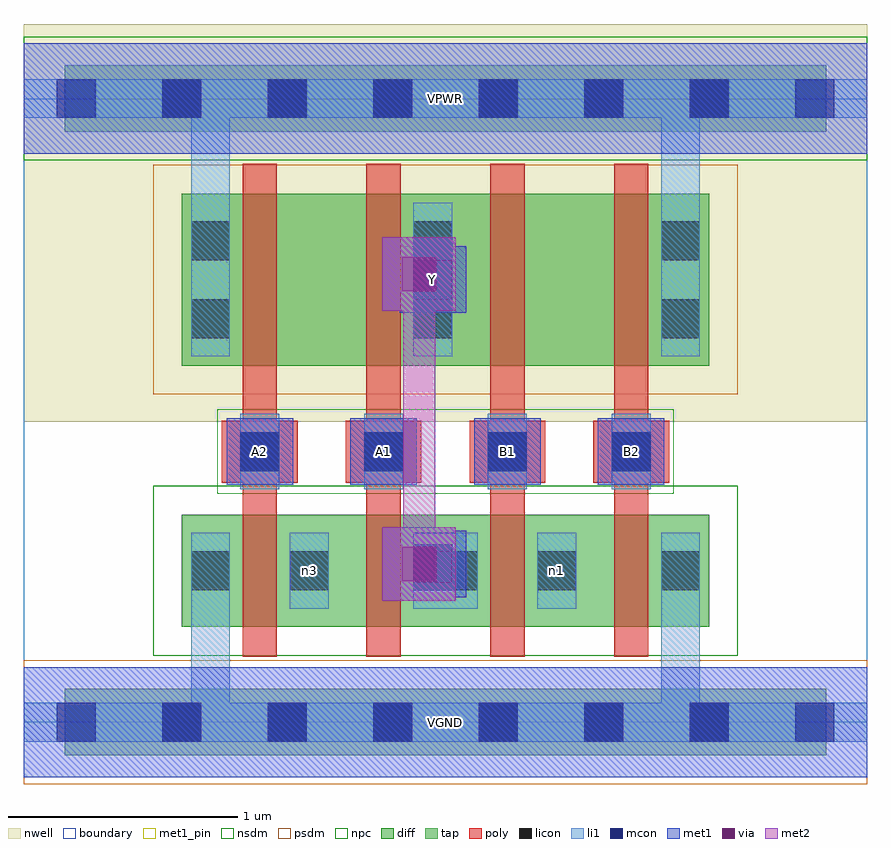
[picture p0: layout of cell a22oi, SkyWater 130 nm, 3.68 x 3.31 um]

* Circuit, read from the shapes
.subckt a22oi A1 A2 B1 B2 VGND VPWR Y n1 n3
XM1 n3 A2 VGND VGND sky130_fd_pr__nfet_01v8 w=0.49 l=0.15
XM2 Y A1 n3 VGND sky130_fd_pr__nfet_01v8 w=0.49 l=0.15
XM3 n1 B1 Y VGND sky130_fd_pr__nfet_01v8 w=0.49 l=0.15
XM4 VGND B2 n1 VGND sky130_fd_pr__nfet_01v8 w=0.49 l=0.15
XM5 n2 A2 VPWR VPWR sky130_fd_pr__pfet_01v8 w=0.75 l=0.15
XM6 Y A1 n2 VPWR sky130_fd_pr__pfet_01v8 w=0.75 l=0.15
XM7 n4 B1 Y VPWR sky130_fd_pr__pfet_01v8 w=0.75 l=0.15
XM8 VPWR B2 n4 VPWR sky130_fd_pr__pfet_01v8 w=0.75 l=0.15
.ends

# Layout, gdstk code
import gdstk
lib = gdstk.Library(unit=1e-6, precision=1e-09)
def R(c, l, rs):  # rectangles x0, y0, x1, y1
    for r in rs: c.add(gdstk.rectangle(r[:2], r[2:], *l))
def A(c, l, x, y, w, h, nx, ny, dx, dy):  # array of equal rectangles
    R(c, l, [(x+i*dx, y+j*dy, x+i*dx+w, y+j*dy+h) for i in range(nx) for j in range(ny)])
nwell = (64, 20)
diff = (65, 20)
tap = (65, 44)
poly = (66, 20)
licon = (66, 44)
li1 = (67, 20)
mcon = (67, 44)
met1_pin = (68, 16)
met1 = (68, 20)
via = (68, 44)
met2 = (69, 20)
nsdm = (93, 44)
psdm = (94, 20)
npc = (95, 20)
boundary = (235, 4)

a22oi = lib.new_cell('a22oi')
R(a22oi, nwell, [(0,1.31,3.68,3.045)])
R(a22oi, diff, [(0.69,0.415,1.91,0.905), (1.77,0.415,2.99,0.905), (0.69,1.555,2.99,2.305)])
R(a22oi, tap, [(0.18,-0.145,3.5,0.145), (0.18,2.575,3.5,2.865)])
A(a22oi, poly, 0.955, 0.285, 0.15, 2.15, 4, 1, 0.54, 0)
A(a22oi, poly, 0.865, 1.045, 0.33, 0.27, 4, 1, 0.54, 0)
A(a22oi, licon, 0.605, -0.085, 0.17, 0.17, 6, 2, 0.46, 2.72)
A(a22oi, licon, 0.945, 1.095, 0.17, 0.17, 4, 1, 0.54, 0)
R(a22oi, licon, [(0.73,0.575,0.9,0.745), (1.16,0.575,1.33,0.745), (1.7,0.575,1.87,0.745), (1.81,0.575,1.98,0.745), (2.24,0.575,2.41,0.745), (2.78,0.575,2.95,0.745), (0.73,1.675,0.9,1.845), (1.7,1.675,1.87,1.845), (2.78,1.675,2.95,1.845), (0.73,2.015,0.9,2.185), (1.7,2.015,1.87,2.185), (2.78,2.015,2.95,2.185)])
A(a22oi, li1, 0.945, 1.015, 0.17, 0.33, 4, 1, 0.54, 0)
R(a22oi, li1, [(0,-0.085,3.68,0.085), (0.73,-0.085,0.9,0.825), (2.78,-0.085,2.95,0.825), (0.73,0.495,0.9,0.825), (1.16,0.495,1.33,0.825), (1.7,0.495,1.87,0.825), (1.81,0.495,1.98,0.825), (2.24,0.495,2.41,0.825), (2.78,0.495,2.95,0.825), (0.73,1.595,0.9,2.265), (0.73,1.595,0.9,2.805), (1.7,1.595,1.87,2.265), (2.78,1.595,2.95,2.265), (2.78,1.595,2.95,2.805), (0,2.635,3.68,2.805)])
A(a22oi, mcon, 0.145, -0.085, 0.17, 0.17, 8, 2, 0.46, 2.72)
A(a22oi, mcon, 0.945, 1.095, 0.17, 0.17, 4, 1, 0.54, 0)
R(a22oi, mcon, [(1.7,0.605,1.87,0.775), (1.7,1.845,1.87,2.015)])
A(a22oi, met1_pin, 0.885, 1.035, 0.29, 0.29, 4, 1, 0.54, 0)
R(a22oi, met1_pin, [(0,-0.24,3.68,0.24), (1.64,1.785,1.93,2.075), (0,2.48,3.68,2.96)])
A(a22oi, met1, 0.885, 1.035, 0.29, 0.29, 4, 1, 0.54, 0)
R(a22oi, met1, [(0,-0.24,3.68,0.24), (1.565,0.53,1.885,0.85), (1.64,0.545,1.93,0.835), (1.655,0.62,1.855,0.76), (1.64,1.785,1.93,2.075), (1.565,1.795,1.885,2.115), (1.655,1.885,1.795,2.025), (0,2.48,3.68,2.96)])
R(a22oi, via, [(1.65,0.615,1.8,0.765), (1.65,1.88,1.8,2.03)])
R(a22oi, met2, [(1.565,0.53,1.885,0.85), (1.655,0.62,1.795,2.025), (1.565,1.795,1.885,2.115)])
R(a22oi, nsdm, [(0.565,0.29,3.115,1.03), (0,2.45,3.68,2.99)])
R(a22oi, psdm, [(0,-0.27,3.68,0.27), (0.565,1.43,3.115,2.43)])
R(a22oi, npc, [(0.845,0.995,2.835,1.365)])
R(a22oi, boundary, [(0,0,3.68,2.72)])
a22oi.add(gdstk.Label('n3', (1.245,0.66), layer=67, texttype=5))
a22oi.add(gdstk.Label('n1', (2.325,0.66), layer=67, texttype=5))
a22oi.add(gdstk.Label('A1', (1.57,1.18), layer=68, texttype=5))
a22oi.add(gdstk.Label('A2', (1.03,1.18), layer=68, texttype=5))
a22oi.add(gdstk.Label('B1', (2.11,1.18), layer=68, texttype=5))
a22oi.add(gdstk.Label('B2', (2.65,1.18), layer=68, texttype=5))
a22oi.add(gdstk.Label('Y', (1.785,1.93), layer=68, texttype=5))
a22oi.add(gdstk.Label('VPWR', (1.84,2.72), layer=68, texttype=5))
a22oi.add(gdstk.Label('VGND', (1.84,0), layer=68, texttype=5))
a22oi.add(gdstk.Label('A1', (1.57,1.18), layer=68, texttype=16))
a22oi.add(gdstk.Label('A2', (1.03,1.18), layer=68, texttype=16))
a22oi.add(gdstk.Label('B1', (2.11,1.18), layer=68, texttype=16))
a22oi.add(gdstk.Label('B2', (2.65,1.18), layer=68, texttype=16))
a22oi.add(gdstk.Label('Y', (1.785,1.93), layer=68, texttype=16))
a22oi.add(gdstk.Label('VPWR', (1.84,2.72), layer=68, texttype=16))
a22oi.add(gdstk.Label('VGND', (1.84,0), layer=68, texttype=16))

lib.write_gds('a22oi.gds')
